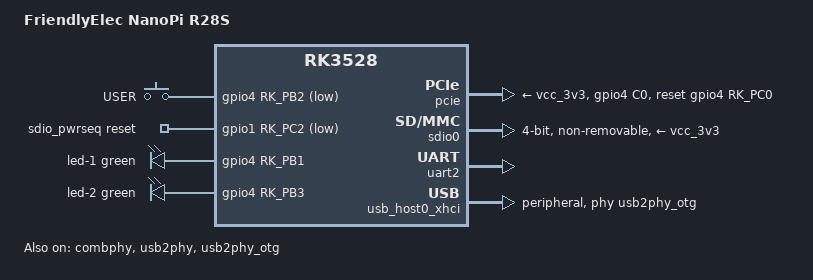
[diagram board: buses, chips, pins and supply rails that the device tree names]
// SPDX-License-Identifier: (GPL-2.0+ OR MIT)
/*
 * Copyright (c) 2022 Rockchip Electronics Co., Ltd.
 * Copyright (c) 2026 FriendlyElec Computer Tech. Co., Ltd.
 * Copyright (c) 2026 安容 <HystericalDragons@proton.me>
 */

/dts-v1/;

#include <dt-bindings/leds/common.h>
#include "rk3528-nanopi.dtsi"

/ {
	model = "FriendlyElec NanoPi R28S";
	compatible = "friendlyarm,nanopi-r28s", "rockchip,rk3528";

	aliases {
		mmc2 = &sdio0;
		serial2 = &uart2;
	};

	gpio-keys {
		compatible = "gpio-keys";
		pinctrl-names = "default";
		pinctrl-0 = <&gpio4_b2_usr_btn>;

		button-user {
			debounce-interval = <50>;
			gpios = <&gpio4 RK_PB2 GPIO_ACTIVE_LOW>;
			label = "USER";
			linux,code = <BTN_1>;
			wakeup-source;
		};
	};

	sdio_pwrseq: sdio-pwrseq {
		compatible = "mmc-pwrseq-simple";
		pinctrl-names = "default";
		pinctrl-0 = <&pwr_wf>;
		post-power-on-delay-ms = <100>;
		reset-gpios = <&gpio1 RK_PC2 GPIO_ACTIVE_LOW>;
	};
};

&combphy {
	status = "okay";
};

&leds {
	pinctrl-0 = <&led1>, <&led2>, <&led_sys>;

	led-1 {
		color = <LED_COLOR_ID_GREEN>;
		default-state = "off";
		function = LED_FUNCTION_WAN;
		gpios = <&gpio4 RK_PB1 GPIO_ACTIVE_HIGH>;
		linux,default-trigger = "netdev";
	};

	led-2 {
		color = <LED_COLOR_ID_GREEN>;
		default-state = "off";
		function = LED_FUNCTION_LAN;
		gpios = <&gpio4 RK_PB3 GPIO_ACTIVE_HIGH>;
		linux,default-trigger = "netdev";
	};
};

&pcie {
	pinctrl-names = "default";
	pinctrl-0 = <&pcie_eth_perstb>;
	reset-gpios = <&gpio4 RK_PC0 GPIO_ACTIVE_HIGH>;
	vpcie3v3-supply = <&vcc_3v3>;
	status = "okay";
};

&pinctrl {
	gpio-keys {
		gpio4_b2_usr_btn: gpio4-b2-usr-btn {
			rockchip,pins = <4 RK_PB2 RK_FUNC_GPIO &pcfg_pull_up>;
		};
	};

	leds {
		led2: led2 {
			rockchip,pins = <4 RK_PB3 RK_FUNC_GPIO &pcfg_pull_none>;
		};
	};

	pcie {
		pcie_eth_perstb: pcie-eth-perstb {
			rockchip,pins = <4 RK_PC0 RK_FUNC_GPIO &pcfg_pull_none>;
		};
	};

	wifi {
		pwr_wf: pwr-wf {
			rockchip,pins = <1 RK_PC2 RK_FUNC_GPIO &pcfg_pull_none>;
		};
	};
};

&sdio0 {
	bus-width = <4>;
	cap-sd-highspeed;
	cap-sdio-irq;
	keep-power-in-suspend;
	mmc-pwrseq = <&sdio_pwrseq>;
	no-mmc;
	no-sd;
	non-removable;
	sd-uhs-sdr104;
	vmmc-supply = <&vcc_3v3>;
	vqmmc-supply = <&vcc_1v8>;
	status = "okay";
};

&uart2 {
	dma-names = "tx", "rx";
	pinctrl-names = "default";
	pinctrl-0 = <&uart2m1_xfer>, <&uart2m1_ctsn>, <&uart2m1_rtsn>;
	uart-has-rtscts;
	status = "okay";
};

&usb_host0_xhci {
	/*
	 * The Type-C port is also the 5V power input. Both CC pins have a
	 * 5.1k pull-down, the ID pin is not connected and VBUS only feeds
	 * the 5V rail, so the port can only ever be a device.
	 */
	dr_mode = "peripheral";
	extcon = <&usb2phy>;
	maximum-speed = "high-speed";
	phys = <&usb2phy_otg>;
	phy-names = "usb2-phy";
	status = "okay";
};

&usb2phy {
	status = "okay";
};

&usb2phy_otg {
	status = "okay";
};
